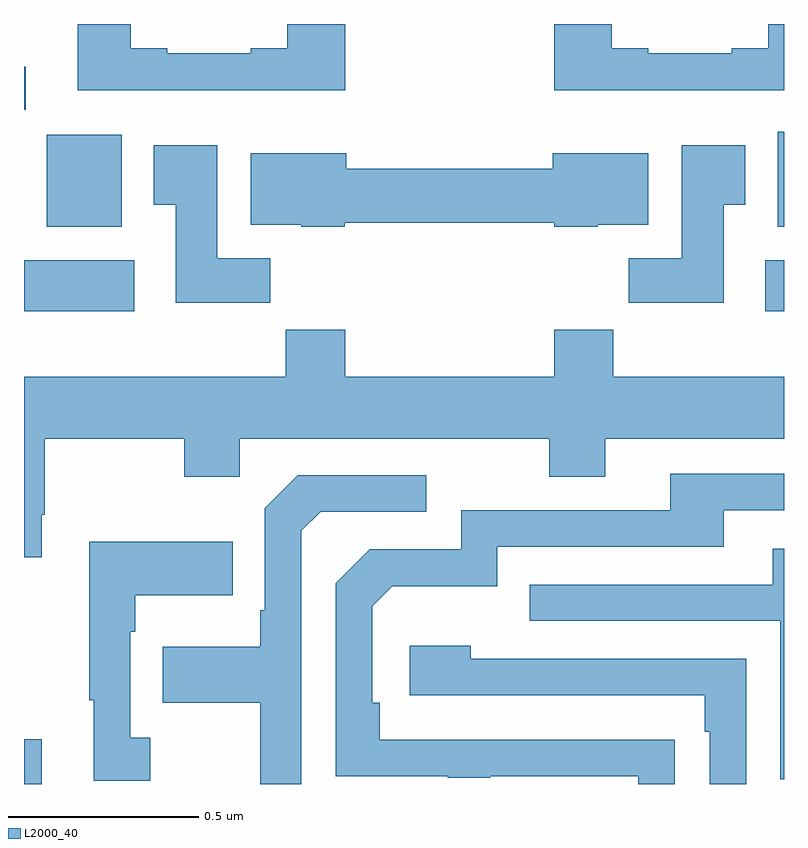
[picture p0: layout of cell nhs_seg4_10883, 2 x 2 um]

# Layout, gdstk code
import gdstk
lib = gdstk.Library(unit=1e-6, precision=1e-09)
def R(c, l, rs):  # rectangles x0, y0, x1, y1
    for r in rs: c.add(gdstk.rectangle(r[:2], r[2:], *l))
def P(c, l, *ps):  # polygons
    for p in ps: c.add(gdstk.Polygon(p, *l))
L2000_40 = (2000, 40)

nhs_seg4_10883 = lib.new_cell('nhs_seg4_10883')
R(nhs_seg4_10883, L2000_40, [(245,807.9,245.047,808.018), (245,809.144,245.29,809.278), (246.951,809.144,247,809.278), (245.06,809.366,245.257,809.608), (246.983,809.366,247,809.617), (245,809.675,245.005,809.788)])
P(nhs_seg4_10883, L2000_40, [(247,809.9),(246.959,809.9),(246.959,809.836),(246.863,809.836),(246.863,809.823),(246.643,809.823),(246.643,809.836),(246.547,809.836),(246.547,809.9),(246.395,809.9),(246.395,809.726),(247,809.726)],
  [(245.846,809.9),(245.693,809.9),(245.693,809.836),(245.597,809.836),(245.597,809.823),(245.377,809.823),(245.377,809.836),(245.281,809.836),(245.281,809.9),(245.141,809.9),(245.141,809.726),(245.846,809.726)],
  [(245.648,809.284),(245.509,809.284),(245.509,809.581),(245.342,809.581),(245.342,809.425),(245.399,809.425),(245.399,809.166),(245.648,809.166)],
  [(246.841,809.425),(246.898,809.425),(246.898,809.581),(246.731,809.581),(246.731,809.284),(246.592,809.284),(246.592,809.166),(246.841,809.166)],
  [(245.844,809.377),(246.396,809.377),(246.396,809.366),(246.51,809.366),(246.51,809.372),(246.643,809.372),(246.643,809.56),(246.392,809.56),(246.392,809.519),(245.848,809.519),(245.848,809.56),(245.597,809.56),(245.597,809.372),(245.73,809.372),(245.73,809.366),(245.844,809.366)],
  [(245.047,808.609),(245.055,808.609),(245.055,808.808),(245.422,808.808),(245.422,808.709),(245.568,808.709),(245.568,808.808),(246.382,808.808),(246.382,808.709),(246.529,808.709),(246.529,808.808),(247,808.808),(247,808.972),(246.551,808.972),(246.551,809.096),(246.395,809.096),(246.395,808.972),(245.846,808.972),(245.846,809.096),(245.689,809.096),(245.689,808.972),(245,808.972),(245,808.497),(245.047,808.497)],
  [(246.713,808.016),(246.611,808.016),(246.611,808.017),(245.936,808.017),(245.936,808.114),(245.916,808.114),(245.916,808.368),(245.969,808.421),(246.246,808.421),(246.246,808.524),(246.841,808.524),(246.841,808.62),(247,808.62),(247,808.716),(246.701,808.716),(246.701,808.62),(246.15,808.62),(246.15,808.518),(245.91,808.518),(245.82,808.428),(245.82,807.921),(246.115,807.921),(246.115,807.916),(246.227,807.916),(246.227,807.921),(246.617,807.921),(246.617,807.9),(246.713,807.9)],
  [(245.73,808.566),(245.781,808.617),(246.058,808.617),(246.058,808.713),(245.721,808.713),(245.634,808.626),(245.634,808.357),(245.622,808.357),(245.622,808.261),(245.365,808.261),(245.365,808.114),(245.622,808.114),(245.622,807.9),(245.73,807.9)],
  [(245.332,808.022),(245.28,808.022),(245.28,808.301),(245.293,808.301),(245.293,808.397),(245.549,808.397),(245.549,808.537),(245.172,808.537),(245.172,808.121),(245.183,808.121),(245.183,807.909),(245.332,807.909)],
  [(247,808.519),(246.971,808.519),(246.971,808.425),(246.331,808.425),(246.331,808.329),(246.99,808.329),(246.99,807.913),(247,807.913)],
  [(246.9,808.23),(246.176,808.23),(246.176,808.264),(246.015,808.264),(246.015,808.134),(246.791,808.134),(246.791,808.037),(246.804,808.037),(246.804,807.9),(246.9,807.9)])

lib.write_gds('nhs_seg4_10883.gds')
